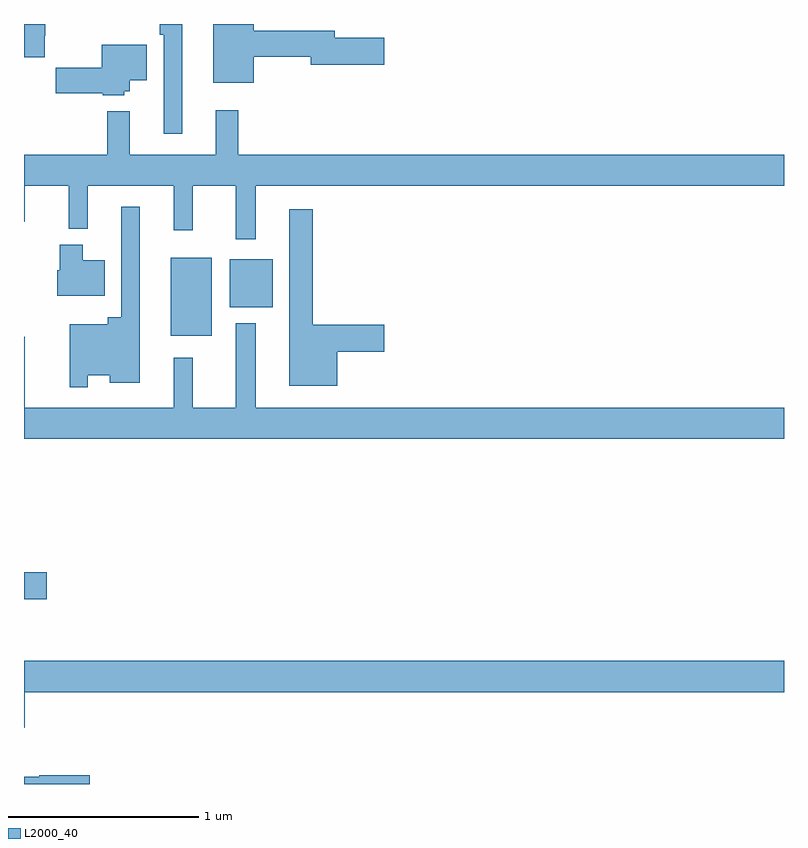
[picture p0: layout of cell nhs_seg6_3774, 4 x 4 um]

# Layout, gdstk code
import gdstk
lib = gdstk.Library(unit=1e-6, precision=1e-09)
def R(c, l, rs):  # rectangles x0, y0, x1, y1
    for r in rs: c.add(gdstk.rectangle(r[:2], r[2:], *l))
def P(c, l, *ps):  # polygons
    for p in ps: c.add(gdstk.Polygon(p, *l))
L2000_40 = (2000, 40)

nhs_seg6_3774 = lib.new_cell('nhs_seg6_3774')
R(nhs_seg6_3774, L2000_40, [(333,966.472,333.121,966.614), (333.773,967.859,333.988,968.269), (334.082,968.009,334.309,968.263)])
P(nhs_seg6_3774, L2000_40, [(333.832,969.5),(333.715,969.5),(333.715,969.443),(333.735,969.443),(333.735,968.922),(333.832,968.922)],
  [(333.108,969.439),(333.112,969.439),(333.112,969.5),(333,969.5),(333,969.326),(333.108,969.326)],
  [(334.21,969.328),(334.508,969.328),(334.508,969.286),(334.897,969.286),(334.897,969.428),(334.636,969.428),(334.636,969.464),(334.21,969.464),(334.21,969.5),(333.995,969.5),(333.995,969.191),(334.21,969.191)],
  [(333.528,969.147),(333.556,969.147),(333.556,969.203),(333.646,969.203),(333.646,969.391),(333.41,969.391),(333.41,969.271),(333.168,969.271),(333.168,969.136),(333.414,969.136),(333.414,969.125),(333.528,969.125)],
  [(334.219,968.648),(337,968.648),(337,968.812),(334.127,968.812),(334.127,969.046),(334.01,969.046),(334.01,968.812),(333.557,968.812),(333.557,969.04),(333.439,969.04),(333.439,968.812),(333,968.812),(333,968.46),(333.004,968.46),(333.004,968.648),(333.235,968.648),(333.235,968.423),(333.335,968.423),(333.335,968.648),(333.788,968.648),(333.788,968.415),(333.888,968.415),(333.888,968.648),(334.115,968.648),(334.115,968.367),(334.219,968.367)],
  [(333.336,967.652),(333.452,967.652),(333.452,967.613),(333.61,967.613),(333.61,968.539),(333.513,968.539),(333.513,967.957),(333.44,967.957),(333.44,967.921),(333.24,967.921),(333.24,967.587),(333.336,967.587)],
  [(334.648,967.774),(334.897,967.774),(334.897,967.916),(334.519,967.916),(334.519,968.524),(334.397,968.524),(334.397,967.595),(334.648,967.595)],
  [(333.424,968.257),(333.31,968.257),(333.31,968.338),(333.188,968.338),(333.188,968.205),(333.176,968.205),(333.176,968.069),(333.424,968.069)],
  [(337,967.48),(334.219,967.48),(334.219,967.924),(334.115,967.924),(334.115,967.48),(333.888,967.48),(333.888,967.744),(333.788,967.744),(333.788,967.48),(333.004,967.48),(333.004,967.855),(333,967.855),(333,967.316),(337,967.316)],
  [(333.004,965.984),(337,965.984),(337,966.148),(333,966.148),(333,965.796),(333.004,965.796)],
  [(333.347,965.545),(333.08,965.545),(333.08,965.537),(333,965.537),(333,965.5),(333.347,965.5)])

lib.write_gds('nhs_seg6_3774.gds')
